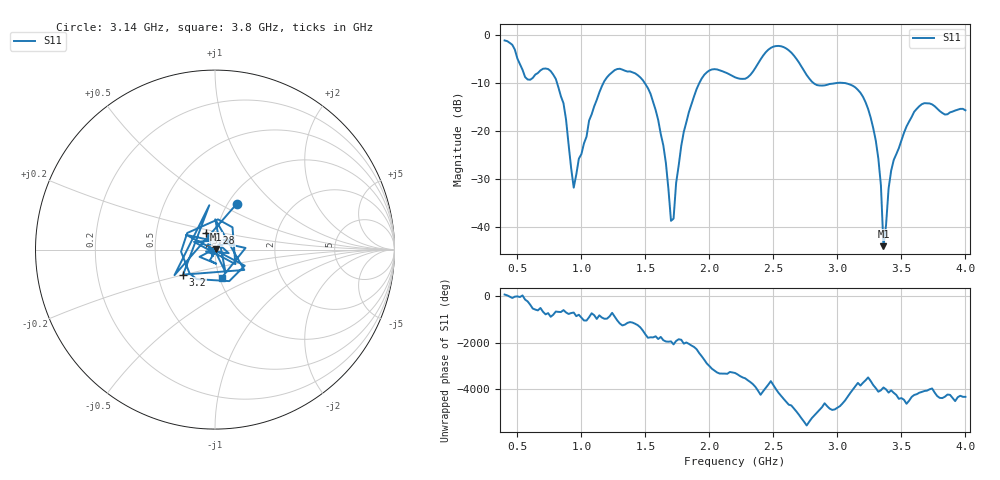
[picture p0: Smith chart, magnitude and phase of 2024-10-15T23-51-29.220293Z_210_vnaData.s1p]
! Created with skrf (http://scikit-rf.org).
# Hz S RI R 50.0
!freq ReS11 ImS11
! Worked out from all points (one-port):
!   181 points, 400 MHz to 4 GHz, reference 50 ohm
!   lowest |S11| = -44.0 dB at 3.36 GHz (marker M1), VSWR 1.01, Z = 50.6 + j0.171 ohm
!   |S11| at or under -10 dB: 809.3 MHz to 1.173 GHz (363.6 MHz wide, 36.7 % of centre); 1.493 GHz to 1.922 GHz (428.8 MHz wide, 25.1 % of centre); 3.029 GHz to end of sweep (the widest 3 of 4)
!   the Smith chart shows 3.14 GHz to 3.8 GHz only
!   S11 on the Smith chart (normalised r, x): 3.14 GHz: 1.10, +0.61; 3.2 GHz: 0.67, -0.20; 3.28 GHz: 0.89, +0.17; 3.8 GHz: 1.03, -0.33
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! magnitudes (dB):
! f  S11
! 400 MHz  -1.2
! 580 MHz  -9.3
! 760 MHz  -7.6
! 860 MHz  -14.3
! 940 MHz  -31.8
! 1.14 GHz  -12.0
! 1.3 GHz  -7.1
! 1.54 GHz  -12.3
! 1.64 GHz  -23.0
! 1.7 GHz  -38.8
! 1.72 GHz  -38.3
! 1.76 GHz  -27.2
! 1.84 GHz  -16.1
! 1.94 GHz  -9.1
! 2.2 GHz  -8.9
! 2.5 GHz  -2.5
! 2.66 GHz  -4.3
! 2.84 GHz  -10.5
! 3.1 GHz  -10.4
! 3.14 GHz  -11.0
! 3.2 GHz  -12.9
! 3.28 GHz  -19.4
! 3.34 GHz  -31.4
! 3.36 GHz  -44.0
! 3.42 GHz  -28.3
! 3.56 GHz  -18.1
! 3.8 GHz  -15.9
! 4 GHz  -15.7
